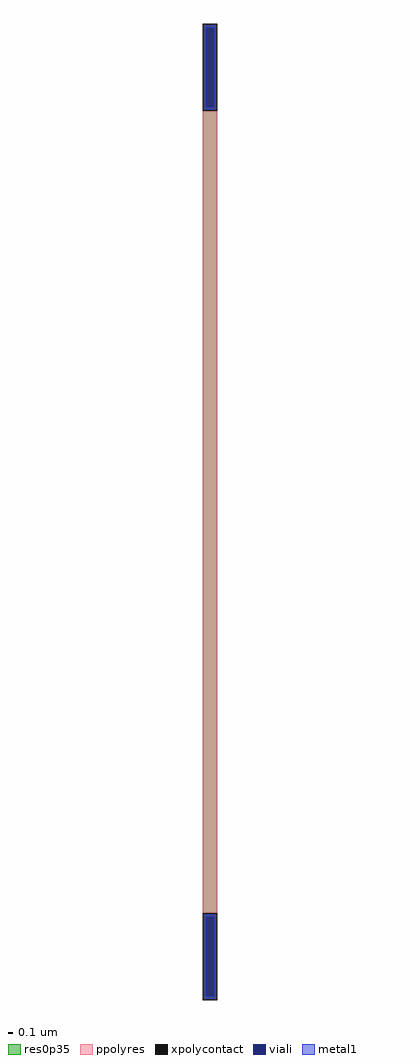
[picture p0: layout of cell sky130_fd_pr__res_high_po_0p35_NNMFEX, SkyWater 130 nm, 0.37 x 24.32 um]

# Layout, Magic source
magic
tech sky130A
magscale 1 2
<< xpolycontact >>
rect -35 2000 35 2432
rect -35 -2432 35 -2000
<< ppolyres >>
rect -35 -2000 35 2000
<< viali >>
rect -19 2017 19 2414
rect -19 -2414 19 -2017
<< metal1 >>
rect -25 2414 25 2426
rect -25 2017 -19 2414
rect 19 2017 25 2414
rect -25 2005 25 2017
rect -25 -2017 25 -2005
rect -25 -2414 -19 -2017
rect 19 -2414 25 -2017
rect -25 -2426 25 -2414
<< res0p35 >>
rect -37 -2002 37 2002
<< properties >>
string gencell sky130_fd_pr__res_high_po_0p35
string library sky130
string parameters w 0.350 l 20 m 1 nx 1 wmin 0.350 lmin 0.50 rho 319.8 val 19.387k dummy 0 dw 0.0 term 194.82 sterm 0.0 caplen 0 guard 0 glc 1 grc 1 gtc 1 gbc 1 compatible {sky130_fd_pr__res_high_po_0p35  sky130_fd_pr__res_high_po_0p69 sky130_fd_pr__res_high_po_1p41  sky130_fd_pr__res_high_po_2p85 sky130_fd_pr__res_high_po_5p73} full_metal 1 wmax 0.350 vias 1 n_guard 0 hv_guard 0 viagb 0 viagt 0 viagl 0 viagr 0
<< end >>
